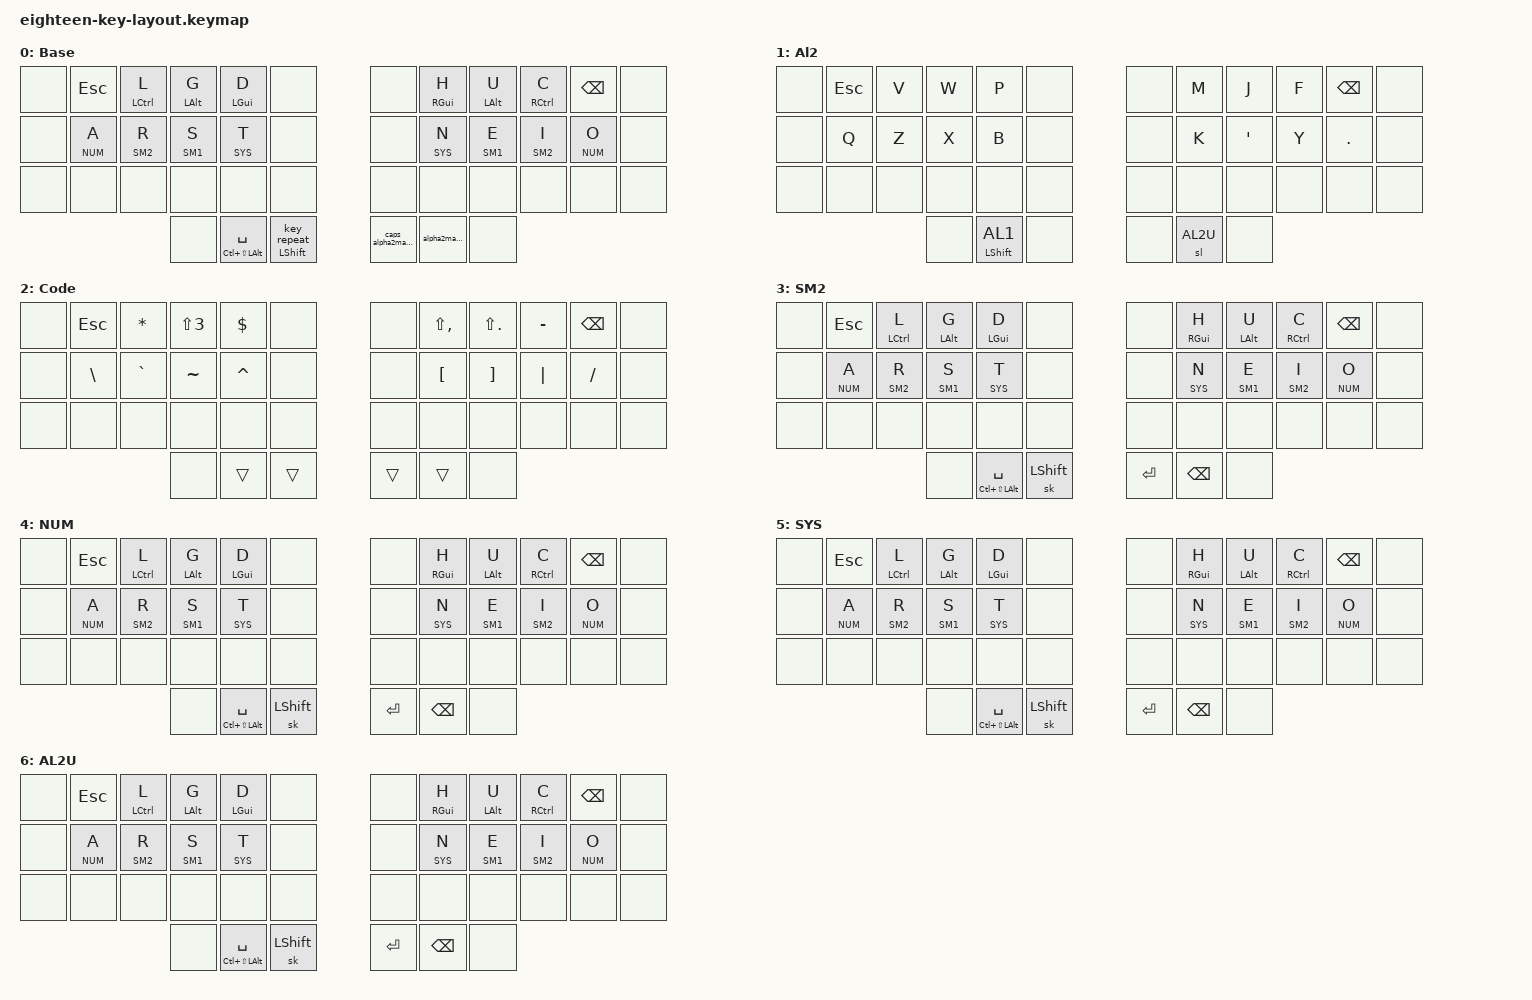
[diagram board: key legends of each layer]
/*
 * Copyright (c) 2020 The ZMK Contributors
 *
 * SPDX-License-Identifier: MIT
 */

#include <behaviors.dtsi>
#include <dt-bindings/zmk/keys.h>
#include <dt-bindings/zmk/bt.h>
#include <dt-bindings/zmk/outputs.h>

/* Layers */
#define AL1 0
#define AL2 1
#define SM1 2
#define SM2 3
#define NUM 4
#define SYS 5
#define AL2U 7

&mt {
    flavor = "tap-preferred";
    tapping_term_ms = <200>;
};

/ {

    combos {
        compatible = "zmk,combos";
         combo_sys {
            timeout-ms = <30>;
            key-positions = <3 4 5>;
            bindings = <&to SYS>;
        };
        combo_caps {
            timeout-ms = <30>;
            key-positions = <10 11 12>;
            bindings = <&caps_word>;
        };
        combo_num {
            timeout-ms = <30>;
            key-positions = <0 1 2>;
            bindings = <&to NUM>;
            layers = <AL1>;
        };
        combo_fun  {
            timeout-ms = <10>;
            key-positions = <7 8>;
            bindings = <&to FUN>;
            layers = <AL1>;
        };
        lalt {
            timeout-ms = <20>;
            key-positions = <8 9>;
            bindings = <&kp LALT>;
            layers = <SYS>;
        };
    };

    behaviors {
            hm_l: homerow_mods_left {
                compatible = "zmk,behavior-hold-tap";
                label = "HOMEROW_MODS_L";
                #binding-cells = <2>;
                tapping-term-ms = <300>;
                quick-tap-ms = <250>;
                flavor = "tap-preferred";
                bindings = <&kp>, <&kp>;
            hold-trigger-key-positions = <3 4 5 10 11 12 13 14>; // right hand
            };
            hm_r: homerow_mods_right {
                compatible = "zmk,behavior-hold-tap";
                label = "HOMEROW_MODS_R";
                #binding-cells = <2>;
                tapping-term-ms = <300>;
                quick-tap-ms = <250>;
                flavor = "tap-preferred";
                bindings = <&kp>, <&kp>;
                hold-trigger-key-positions = <0 1 2 6 7 8 9>; // left hand
            };
            sr: shift_layer {
                compatible = "zmk,behavior-hold-tap";
                label = "SHIFT_LAYER";
                #binding-cells = <2>;
                tapping-term-ms = <300>;
                quick_tap_ms = <0>;
                flavor = "tap-preferred";
                bindings = <&kp>, <&to>;
                retro-tap;
            };
            hl_l: homerow_layers_left {
                compatible = "zmk,behavior-hold-tap";
                label = "HOMEROW_LAYERS_L";
                #binding-cells = <2>;
                tapping-term-ms = <220>;
                quick-tap-ms = <250>;
                flavor = "tap-preferred";
                bindings = <&mo>, <&kp>;
                hold-trigger-key-positions = <3 4 5 10 11 12 13 14>; // right hand
            };
            hl_r: homerow_layers_right {
                compatible = "zmk,behavior-hold-tap";
                label = "HOMEROW_LAYERS_R";
                #binding-cells = <2>;
                tapping-term-ms = <220>;
                quick-tap-ms = <250>;
                flavor = "tap-preferred";
                bindings = <&mo>, <&kp>;
                hold-trigger-key-positions = <0 1 2 6 7 8 9>; // left hand
            };
            td: tapdance {
                compatible = "zmk,behavior-hold-tap";
                label = "TAPDANCE";
                #binding-cells = <2>;
                tapping-term-ms = <190>;
                quick-tap-ms = <250>;
                flavor = "tap-preferred";
                bindings = <&kp>, <&kp>;
            };
            shrep: shift_repeat {
                    compatible = "zmk,behavior-hold-tap";
                    label = "SHIFT_REPEAT";
                    #binding-cells = <2>;
                    flavor = "hold-preferred";
                    tapping-term-ms = <400>;
                    quick-tap-ms = <200>;
                    bindings = <&kp>, <&key_repeat>;
                };
            alpha2macro: behavior_macro_1 {
                compatible = "zmk,behavior-macro";
                label = "MACRO1";
                #binding-cells = <0>;
                bindings = < &sl AL2 >;
            };
            caps_alpha2macro: behavior_macro_2 {
                compatible = "zmk,behavior-macro";
                label = "MACRO2";
                #binding-cells = <0>;
                bindings = < &sl AL2U >;
            };
    };

    macros {
        ws_find: ws_find {
            compatible = "zmk,behavior-macro";
            label = "ws_find_macro";
            #binding-cells = <0>;
            bindings =
                <&macro_tap>,
                <&kp LEFT_SHIFT &kp LEFT_SHIFT>;
        };
        prettier: prettier {
            compatible = "zmk,behavior-macro";
            label = "prettier_macro";
            #binding-cells = <0>;
            bindings =
                <&macro_press>,
                <&kp LEFT_CONTROL &kp LEFT_ALT &kp O>,
                <&macro_release>,
                <&kp LEFT_CONTROL &kp LEFT_ALT &kp O>,
                <&macro_press>,
                <&kp LEFT_COMMAND &kp LEFT_SHIFT &kp LEFT_ALT &kp P>,
                <&macro_release>,
                <&kp LEFT_COMMAND &kp LEFT_SHIFT &kp LEFT_ALT &kp P>;
        };
    };
   
    
    keymap {
         compatible = "zmk,keymap";

         AL1 {
         label = "Base";
                        bindings = <
   &none  &kp ESC  &hm_l LCTL L &hm_l LALT G &hm_l LGUI D  &none                                &none   &hm_r RGUI H  &hm_r LALT U  &hm_r RCTL C  &kp BSPC  &none
   &none  &hl_l NUM A  &hl_l SM2 R  &hl_l SM1 S  &hl_l SYS T  &none                             &none   &hl_r SYS N  &hl_r SM1 E  &hl_r SM2 I  &hl_r NUM O  &none
   &none  &none   &none   &none   &none   &none                                                 &none   &none   &none   &none  &none  &none 
   &none  &mt LC(LS(LALT)) SPC  &shrep LSHIFT 0                                                 &caps_alpha2macro  &alpha2macro &none
                        >;
                };

          AL2 {
          label = "Al2";
                         bindings = <
    &none  &kp ESC  &kp V  &kp W   &kp P   &none                                 &none   &kp M   &kp J   &kp F &kp BSPC   &none
    &none  &kp Q  &kp Z &kp X     &kp B    &none                                 &none   &kp K   &kp SQT &kp Y   &kp DOT  &none
    &none  &none   &none   &none   &none   &none                                 &none   &none   &none   &none  &none  &none
    &none  &sr LSHIFT AL1      &none                                             &none    &sl AL2U  &none
                         >;
               };
                
         SM1 {
         label = "Code";
                        bindings = <
   &none  &kp ESC   &kp STAR     &kp LS(N3)  &kp DLLR  &none                                 &none   &kp LS(COMMA)  &kp LS(DOT)  &kp MINUS  &kp BSPC   &none
   &none  &kp BSLH   &kp GRAVE    &kp TILDE   &kp CARET  &none                               &none   &kp LBKT       &kp RBKT     &kp PIPE   &kp SLASH  &none
   &none  &none   &none   &none   &none   &none                                              &none   &none          &none        &none      &none      &none
   &none  &trans      &trans                                                                 &trans  &trans  &none
                        >;
                };
        
         SM2 {
                        bindings = <
   &none  &kp ESC    &mt LCTL L   &mt LALT G  &mt LGUI D  &none                                 &none   &mt RGUI H  &mt LALT U   &mt RCTL C  &kp BSPC   &none
   &none  &lt NUM A  &lt SM2 R    &lt SM1 S   &lt SYS T   &none                                 &none   &lt SYS N   &lt SM1 E    &lt SM2 I   &lt NUM O  &none
   &none  &none   &none   &none   &none   &none                                                 &none   &none   &none   &none  &none  &none
   &none  &mt LC(LS(LALT)) SPC  &sk LSHIFT                                                      &kp RET &kp BSPC &none
                        >;
                };
                
         NUM {
                        bindings = <
   &none  &kp ESC    &mt LCTL L   &mt LALT G  &mt LGUI D  &none                                 &none   &mt RGUI H  &mt LALT U   &mt RCTL C  &kp BSPC   &none
   &none  &lt NUM A  &lt SM2 R    &lt SM1 S   &lt SYS T   &none                                 &none   &lt SYS N   &lt SM1 E    &lt SM2 I   &lt NUM O  &none
   &none  &none   &none   &none   &none   &none                                                 &none   &none   &none   &none  &none  &none
   &none  &mt LC(LS(LALT)) SPC  &sk LSHIFT                                                      &kp RET &kp BSPC &none
                        >;
                };

         SYS {
                        bindings = <
   &none  &kp ESC    &mt LCTL L   &mt LALT G  &mt LGUI D  &none                                 &none   &mt RGUI H  &mt LALT U   &mt RCTL C  &kp BSPC   &none
   &none  &lt NUM A  &lt SM2 R    &lt SM1 S   &lt SYS T   &none                                 &none   &lt SYS N   &lt SM1 E    &lt SM2 I   &lt NUM O  &none
   &none  &none   &none   &none   &none   &none                                                 &none   &none   &none   &none  &none  &none
   &none  &mt LC(LS(LALT)) SPC  &sk LSHIFT                                                      &kp RET &kp BSPC &none
                        >;
                };

        AL2U {
                        bindings = <
   &none  &kp ESC    &mt LCTL L   &mt LALT G  &mt LGUI D  &none                                 &none   &mt RGUI H  &mt LALT U   &mt RCTL C  &kp BSPC   &none
   &none  &lt NUM A  &lt SM2 R    &lt SM1 S   &lt SYS T   &none                                 &none   &lt SYS N   &lt SM1 E    &lt SM2 I   &lt NUM O  &none
   &none  &none   &none   &none   &none   &none                                                 &none   &none   &none   &none  &none  &none
   &none  &mt LC(LS(LALT)) SPC  &sk LSHIFT                                                      &kp RET &kp BSPC &none
                        >;
                };
        };
};
